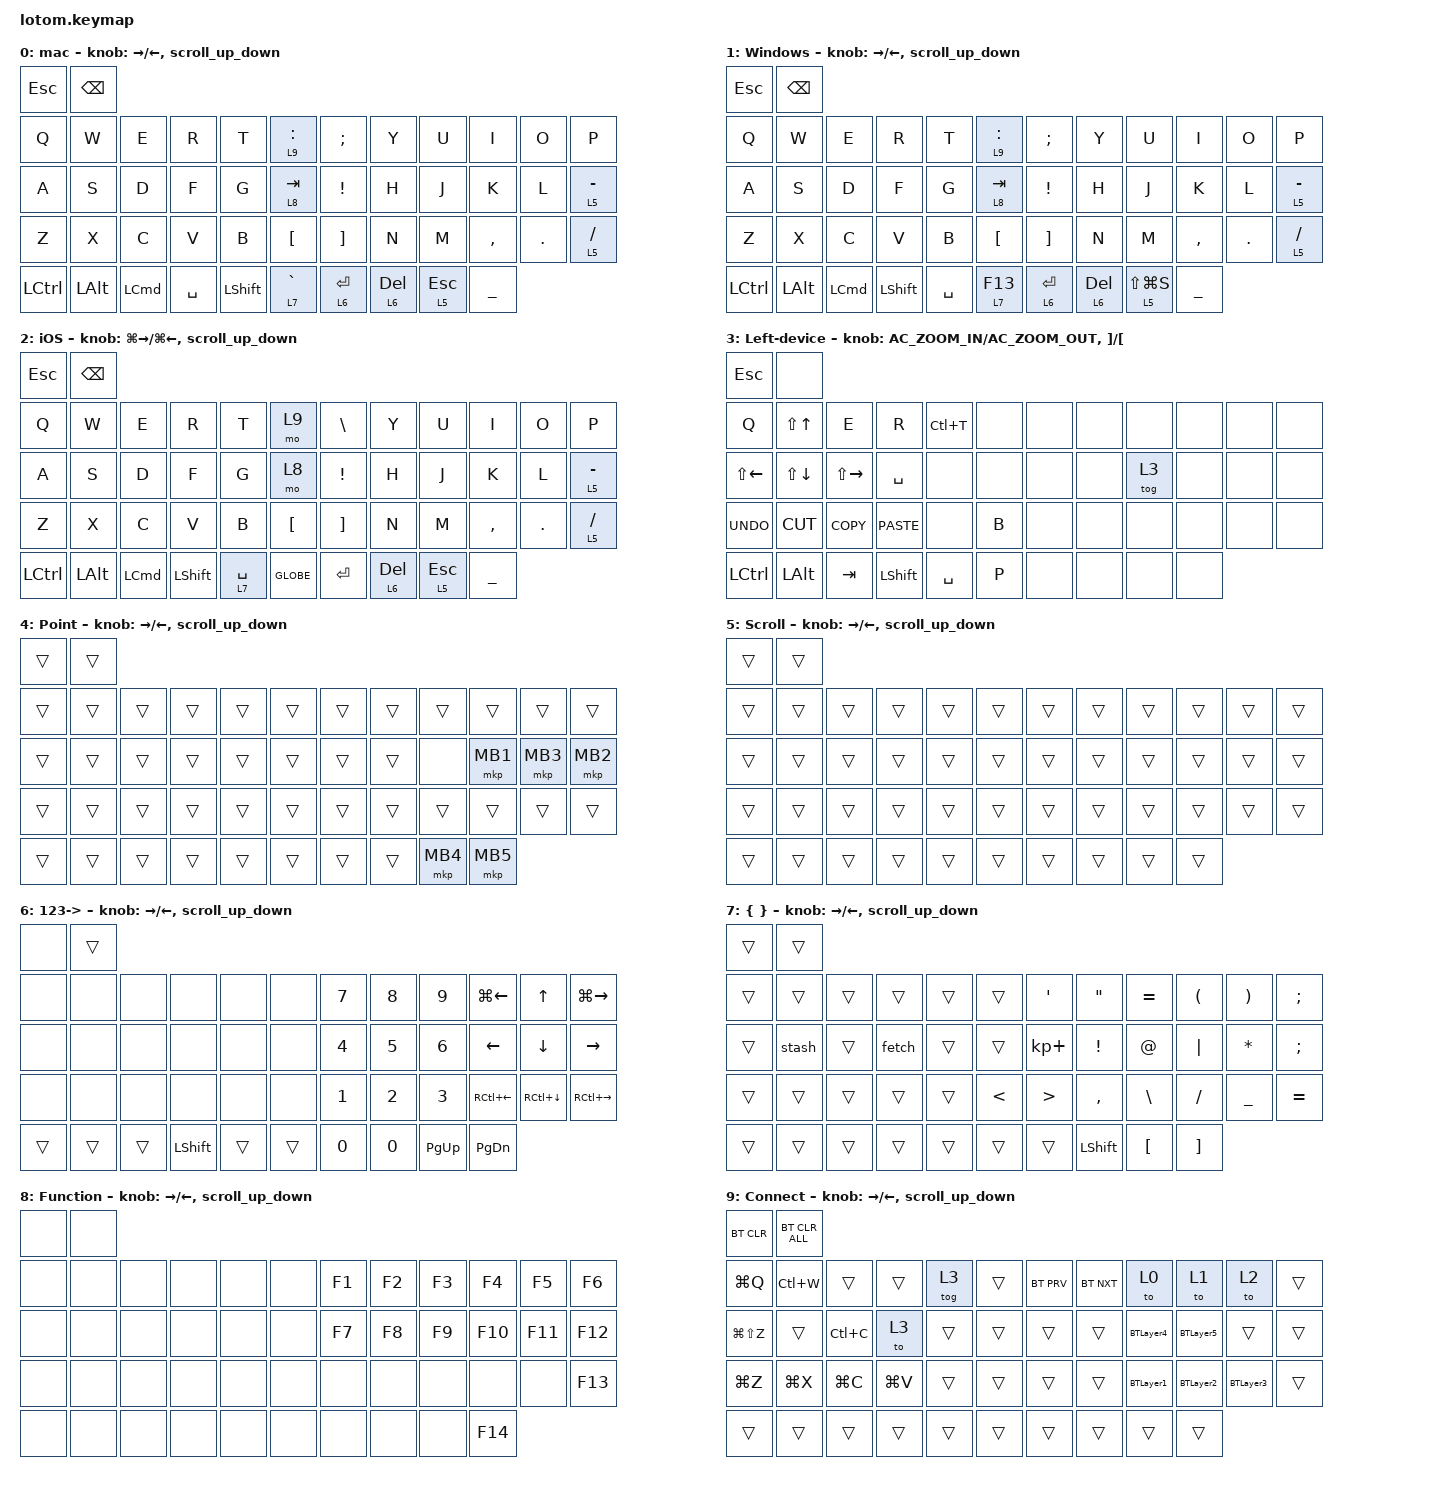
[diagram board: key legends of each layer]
#include <behaviors.dtsi>
#include <dt-bindings/zmk/bt.h>
#include <dt-bindings/zmk/keys.h>
#include <dt-bindings/zmk/pointing.h>

#define ZMK_POINTING_DEFAULT_SCRL_VAL 80

/ {
    behaviors {
        scroll_up_down: behavior_sensor_rotate_mouse_wheel_up_down {
            compatible = "zmk,behavior-sensor-rotate";
            label = "ENCODER_MSC_DOWN_UP";
            #sensor-binding-cells = <0>;
            bindings = <&msc SCRL_DOWN>, <&msc SCRL_UP>;

            tap-ms = <20>;
        };

        tab_slide: behavior_sensor_rotate_tab_slide {
            compatible = "zmk,behavior-sensor-rotate";
            label = "ENCODER_TAB_SLIDE";
            #sensor-binding-cells = <0>;
            bindings = <&kp LA(LG(RIGHT_ARROW))>, <&kp LA(LG(LEFT_ARROW))>;

            tap-ms = <20>;
        };
    };

    macros {
        BTLayer1: BTLayer1 {
            compatible = "zmk,behavior-macro";
            #binding-cells = <0>;
            bindings = <&bt BT_SEL 0>, <&macro_wait_time 200>, <&to 0>;

            label = "BTLAYER1";
        };

        BTLayer2: BTLayer2 {
            compatible = "zmk,behavior-macro";
            #binding-cells = <0>;
            bindings = <&bt BT_SEL 1>, <&macro_wait_time 200>, <&to 1>;

            label = "BTLAYER2";
        };

        BTLayer3: BTLayer3 {
            compatible = "zmk,behavior-macro";
            #binding-cells = <0>;
            bindings = <&bt BT_SEL 2>, <&macro_wait_time 200>, <&to 1>;

            label = "BTLAYER3";
        };

        BTLayer4: BTLayer4 {
            compatible = "zmk,behavior-macro";
            #binding-cells = <0>;
            bindings = <&bt BT_SEL 3>, <&macro_wait_time 200>, <&to 1>;

            label = "BTLAYER4";
        };

        BTLayer5: BTLayer5 {
            compatible = "zmk,behavior-macro";
            #binding-cells = <0>;
            bindings = <&bt BT_SEL 4>, <&macro_wait_time 200>, <&to 1>;

            label = "BTLAYER5";
        };

        fetch: new_macro {
            compatible = "zmk,behavior-macro";
            #binding-cells = <0>;
            bindings = <&kp G &kp I &kp T &kp SPACE &kp F &kp E &kp T &kp C &kp H>;
            label = "NEW_MACRO";
        };

        stash: stash {
            compatible = "zmk,behavior-macro";
            #binding-cells = <0>;
            bindings = <&none &kp G &kp I &kp T &kp SPACE &kp S &kp T &kp A &kp S &kp H>;
            label = "STASH";
        };
    };

    keymap {
        compatible = "zmk,keymap";

        mac {
            bindings = <
&kp ESCAPE  &kp BACKSPACE
&kp Q       &kp W          &kp E             &kp R      &kp T           &lt 9 COLON       &kp SEMICOLON      &kp Y         &kp U         &kp I           &kp O    &kp P
&kp A       &kp S          &kp D             &kp F      &kp G           &lt 8 TAB         &kp EXCLAMATION    &kp H         &kp J         &kp K           &kp L    &lt 5 MINUS
&kp Z       &kp X          &kp C             &kp V      &kp B           &kp LEFT_BRACKET  &kp RIGHT_BRACKET  &kp N         &kp M         &kp COMMA       &kp DOT  &lt 5 SLASH
&kp LCTRL   &kp LEFT_ALT   &kp LEFT_COMMAND  &kp SPACE  &kp LEFT_SHIFT  &lt 7 GRAVE       &lt 6 ENTER        &lt 6 DELETE  &lt 5 ESCAPE  &kp UNDERSCORE
            >;

            sensor-bindings = <
                &inc_dec_kp RIGHT_ARROW LEFT_ARROW
                &scroll_up_down
            >;

            label = "mac";
        };

        Windows {
            bindings = <
&kp ESCAPE  &kp BACKSPACE
&kp Q       &kp W          &kp E             &kp R           &kp T      &lt 9 COLON       &kp SEMICOLON      &kp Y         &kp U            &kp I           &kp O    &kp P
&kp A       &kp S          &kp D             &kp F           &kp G      &lt 8 TAB         &kp EXCL           &kp H         &kp J            &kp K           &kp L    &lt 5 MINUS
&kp Z       &kp X          &kp C             &kp V           &kp B      &kp LEFT_BRACKET  &kp RIGHT_BRACKET  &kp N         &kp M            &kp COMMA       &kp DOT  &lt 5 SLASH
&kp LCTRL   &kp LEFT_ALT   &kp LEFT_COMMAND  &kp LEFT_SHIFT  &kp SPACE  &lt 7 F13         &lt 6 RETURN       &lt 6 DELETE  &lt 5 LS(LG(S))  &kp UNDERSCORE
            >;

            sensor-bindings = <
                &inc_dec_kp RIGHT_ARROW LEFT_ARROW
                &scroll_up_down
            >;

            label = "Windows";
        };

        iOS {
            bindings = <
&kp ESCAPE  &kp BACKSPACE
&kp Q       &kp W          &kp E             &kp R           &kp T        &mo 9             &kp BACKSLASH      &kp Y         &kp U         &kp I           &kp O    &kp P
&kp A       &kp S          &kp D             &kp F           &kp G        &mo 8             &kp EXCL           &kp H         &kp J         &kp K           &kp L    &lt 5 MINUS
&kp Z       &kp X          &kp C             &kp V           &kp B        &kp LEFT_BRACKET  &kp RIGHT_BRACKET  &kp N         &kp M         &kp COMMA       &kp DOT  &lt 5 SLASH
&kp LCTRL   &kp LEFT_ALT   &kp LEFT_COMMAND  &kp LEFT_SHIFT  &lt 7 SPACE  &kp GLOBE         &kp ENTER          &lt 6 DELETE  &lt 5 ESCAPE  &kp UNDERSCORE
            >;

            sensor-bindings =
                <&inc_dec_kp LG(RIGHT_ARROW) LG(LEFT_ARROW)>,
                <&scroll_up_down>;

            label = "iOS";
        };

        lefthand {
            label = "Left-device";
            bindings = <
&kp ESCAPE          &none
&kp Q               &kp LS(UP_ARROW)  &kp E          &kp R           &kp LC(T)  &none  &none  &none  &none   &none  &none  &none
&kp LS(LEFT_ARROW)  &kp LS(DOWN)      &kp LS(RIGHT)  &kp SPACE       &none      &none  &none  &none  &tog 3  &none  &none  &none
&kp K_UNDO          &kp K_CUT         &kp K_COPY     &kp K_PASTE     &none      &kp B  &none  &none  &none   &none  &none  &none
&kp LCTRL           &kp LEFT_ALT      &kp TAB        &kp LEFT_SHIFT  &kp SPACE  &kp P  &none  &none  &none   &none
            >;

            sensor-bindings =
                <&inc_dec_kp C_AC_ZOOM_IN C_AC_ZOOM_OUT>,
                <&inc_dec_kp RIGHT_BRACKET LEFT_BRACKET>;
        };

        MOUSE {
            bindings = <
&trans  &trans
&trans  &trans  &trans  &trans  &trans  &trans  &trans  &trans  &trans    &trans    &trans    &trans
&trans  &trans  &trans  &trans  &trans  &trans  &trans  &trans  &none     &mkp MB1  &mkp MB3  &mkp MB2
&trans  &trans  &trans  &trans  &trans  &trans  &trans  &trans  &trans    &trans    &trans    &trans
&trans  &trans  &trans  &trans  &trans  &trans  &trans  &trans  &mkp MB4  &mkp MB5
            >;

            sensor-bindings = <
                &inc_dec_kp RIGHT_ARROW LEFT_ARROW
                &scroll_up_down
            >;

            label = "Point";
        };

        SCROLL {
            bindings = <
&trans  &trans
&trans  &trans  &trans  &trans  &trans  &trans  &trans  &trans  &trans  &trans  &trans  &trans
&trans  &trans  &trans  &trans  &trans  &trans  &trans  &trans  &trans  &trans  &trans  &trans
&trans  &trans  &trans  &trans  &trans  &trans  &trans  &trans  &trans  &trans  &trans  &trans
&trans  &trans  &trans  &trans  &trans  &trans  &trans  &trans  &trans  &trans
            >;

            sensor-bindings = <
                &inc_dec_kp RIGHT_ARROW LEFT_ARROW
                &scroll_up_down
            >;

            label = "Scroll";
        };

        ARROW-NUM {
            bindings = <
&none   &trans
&none   &none   &none   &none           &none   &none   &kp N7  &kp N8  &kp N9       &kp LG(LEFT_ARROW)  &kp UP_ARROW        &kp LG(RIGHT_ARROW)
&none   &none   &none   &none           &none   &none   &kp N4  &kp N5  &kp N6       &kp LEFT_ARROW      &kp DOWN_ARROW      &kp RIGHT_ARROW
&none   &none   &none   &none           &none   &none   &kp N1  &kp N2  &kp N3       &kp RC(LEFT_ARROW)  &kp RC(DOWN_ARROW)  &kp RC(RIGHT_ARROW)
&trans  &trans  &trans  &kp LEFT_SHIFT  &trans  &trans  &kp N0  &kp N0  &kp PAGE_UP  &kp PAGE_DOWN
            >;

            sensor-bindings = <
                &inc_dec_kp RIGHT_ARROW LEFT_ARROW
                &scroll_up_down
            >;

            label = "123->";
        };

        Code {
            bindings = <
&trans  &trans
&trans  &trans  &trans  &trans  &trans  &trans         &kp SINGLE_QUOTE  &kp DOUBLE_QUOTES  &kp EQUAL         &kp LEFT_PARENTHESIS  &kp RIGHT_PARENTHESIS  &kp SEMICOLON
&trans  &stash  &trans  &fetch  &trans  &trans         &kp KP_PLUS       &kp EXCLAMATION    &kp AT_SIGN       &kp PIPE              &kp ASTERISK           &kp SEMICOLON
&trans  &trans  &trans  &trans  &trans  &kp LESS_THAN  &kp GREATER_THAN  &kp COMMA          &kp BSLH          &kp SLASH             &kp UNDERSCORE         &kp EQUAL
&trans  &trans  &trans  &trans  &trans  &trans         &trans            &kp LEFT_SHIFT     &kp LEFT_BRACKET  &kp RIGHT_BRACKET
            >;

            sensor-bindings = <
                &inc_dec_kp RIGHT_ARROW LEFT_ARROW
                &scroll_up_down
            >;

            label = "{ }";
        };

        FUNCTION {
            bindings = <
&none  &none
&none  &none  &none  &none  &none  &none  &kp F1  &kp F2  &kp F3  &kp F4   &kp F5   &kp F6
&none  &none  &none  &none  &none  &none  &kp F7  &kp F8  &kp F9  &kp F10  &kp F11  &kp F12
&none  &none  &none  &none  &none  &none  &none   &none   &none   &none    &none    &kp F13
&none  &none  &none  &none  &none  &none  &none   &none   &none   &kp F14
            >;

            sensor-bindings = <
                &inc_dec_kp RIGHT_ARROW LEFT_ARROW
                &scroll_up_down
            >;

            label = "Function";
        };

        BT {
            bindings = <
&bt BT_CLR     &bt BT_CLR_ALL
&kp LG(Q)      &kp LC(W)       &trans     &trans     &tog 3  &trans  &bt BT_PRV  &bt BT_NXT  &to 0      &to 1      &to 2      &trans
&kp LG(LS(Z))  &trans          &kp LC(C)  &to 3      &trans  &trans  &trans      &trans      &BTLayer4  &BTLayer5  &trans     &trans
&kp LG(Z)      &kp LG(X)       &kp LG(C)  &kp LG(V)  &trans  &trans  &trans      &trans      &BTLayer1  &BTLayer2  &BTLayer3  &trans
&trans         &trans          &trans     &trans     &trans  &trans  &trans      &trans      &trans     &trans
            >;

            sensor-bindings = <
                &inc_dec_kp RIGHT_ARROW LEFT_ARROW
                &scroll_up_down
            >;

            label = "Connect";
        };
    };
};
